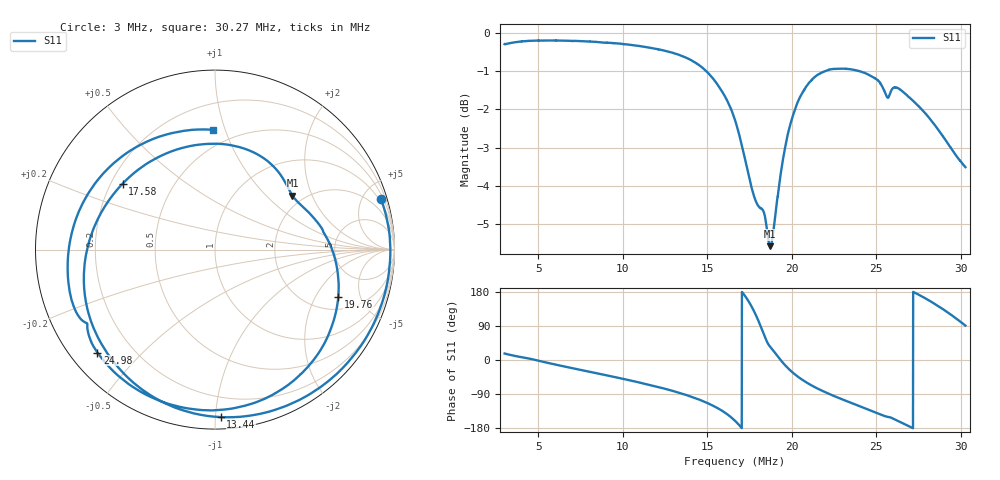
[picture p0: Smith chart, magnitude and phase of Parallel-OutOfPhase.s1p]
# HZ S RI R 50
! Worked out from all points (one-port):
!   2727 points, 3 MHz to 30.27 MHz, reference 50 ohm
!   lowest |S11| = -5.6 dB at 18.72 MHz (marker M1), VSWR 3.22, Z = 87.5 + j72.7 ohm
!   |S11| at or under -10 dB: nowhere
!   S11 on the Smith chart (normalised r, x): 3 MHz: 0.76, +6.57; 13.44 MHz: 0.07, -1.03; 17.58 MHz: 0.25, +0.30; 19.76 MHz: 2.72, -3.15; 24.98 MHz: 0.08, -0.37; 30.27 MHz: 0.38, +0.91
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3000000  0.9239 0.2842
6411364  0.9394 -0.2685
9822728  0.6485 -0.7191
1.323409e7  0.0782 -0.9343
1.344418e7  0.0319 -0.9333
1.444458e7  -0.2089 -0.8852
1.527491e7  -0.4289 -0.7622
1.60152e7  -0.6165 -0.5525
1.663545e7  -0.7246 -0.2578
1.713565e7  -0.695 0.0662
1.757583e7  -0.515 0.3671
1.789596e7  -0.2638 0.5389
1.815606e7  0.013 0.59
1.844618e7  0.3157 0.4729
1.871628e7  0.4317 0.3003
1.931652e7  0.6484 0.0109
1.97567e7  0.6872 -0.265
2.004682e7  0.6522 -0.4231
2.073709e7  0.4753 -0.6944
2.15074e7  0.2273 -0.8511
2.239776e7  -0.0506 -0.8953
2.345818e7  -0.3395 -0.8296
2.497879e7  -0.6549 -0.5735
2.686954e7  -0.8208 -0.0943
2.768987e7  -0.7764 0.1658
2.846018e7  -0.6427 0.4011
2.942056e7  -0.3475 0.6155
3.02709e7  -0.00953 0.6672
